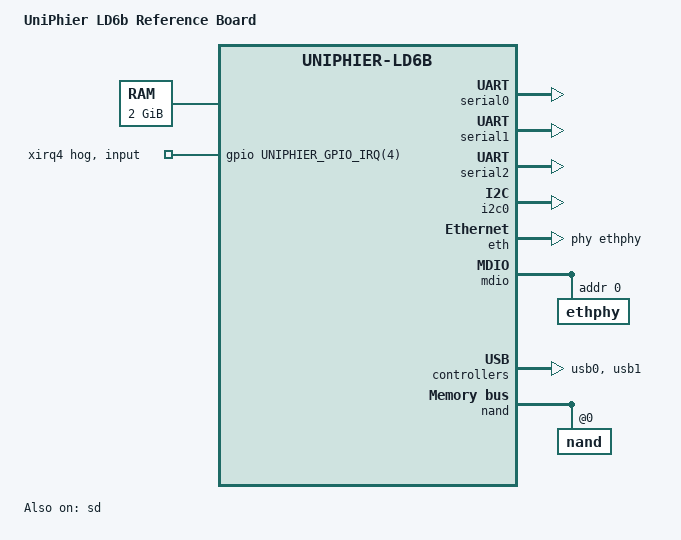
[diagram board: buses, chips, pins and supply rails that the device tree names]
// SPDX-License-Identifier: GPL-2.0+ OR MIT
//
// Device Tree Source for UniPhier LD6b Reference Board
//
// Copyright (C) 2015-2016 Socionext Inc.
//   Author: Masahiro Yamada <yamada.masahiro@socionext.com>

/dts-v1/;
#include "uniphier-ld6b.dtsi"
#include "uniphier-ref-daughter.dtsi"
#include "uniphier-support-card.dtsi"

/ {
	model = "UniPhier LD6b Reference Board";
	compatible = "socionext,uniphier-ld6b-ref", "socionext,uniphier-ld6b";

	chosen {
		stdout-path = "serial0:115200n8";
	};

	aliases {
		serial0 = &serial0;
		serial1 = &serial1;
		serial2 = &serial2;
		i2c0 = &i2c0;
		i2c1 = &i2c1;
		i2c2 = &i2c2;
		i2c3 = &i2c3;
		i2c4 = &i2c4;
		i2c5 = &i2c5;
		i2c6 = &i2c6;
		ethernet0 = &eth;
	};

	memory@80000000 {
		device_type = "memory";
		reg = <0x80000000 0x80000000>;
	};
};

&ethsc {
	interrupts = <4 8>;
};

&serial0 {
	status = "okay";
};

&serial1 {
	status = "okay";
};

&serial2 {
	status = "okay";
};

&gpio {
	xirq4 {
		gpio-hog;
		gpios = <UNIPHIER_GPIO_IRQ(4) 0>;
		input;
	};
};

&i2c0 {
	status = "okay";
};

&sd {
	status = "okay";
};

&eth {
	status = "okay";
	phy-handle = <&ethphy>;
};

&mdio {
	ethphy: ethphy@0 {
		reg = <0>;
	};
};

&usb0 {
	status = "okay";
};

&usb1 {
	status = "okay";
};

&nand {
	status = "okay";

	nand@0 {
		reg = <0>;
	};
};
